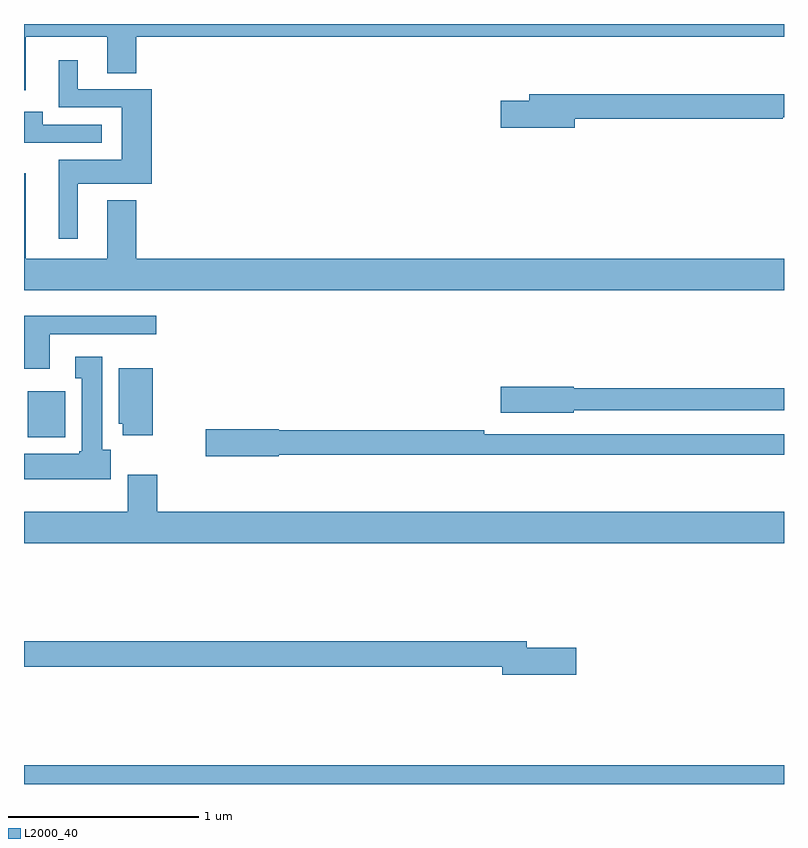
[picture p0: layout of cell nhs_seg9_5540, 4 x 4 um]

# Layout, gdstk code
import gdstk
lib = gdstk.Library(unit=1e-6, precision=1e-09)
def R(c, l, rs):  # rectangles x0, y0, x1, y1
    for r in rs: c.add(gdstk.rectangle(r[:2], r[2:], *l))
def P(c, l, *ps):  # polygons
    for p in ps: c.add(gdstk.Polygon(p, *l))
L2000_40 = (2000, 40)

nhs_seg9_5540 = lib.new_cell('nhs_seg9_5540')
R(nhs_seg9_5540, L2000_40, [(433,1180.5,437,1180.6), (433.019,1182.326,433.216,1182.568)])
P(nhs_seg9_5540, L2000_40, [(433.009,1184.432),(433.439,1184.432),(433.439,1184.242),(433.592,1184.242),(433.592,1184.432),(437,1184.432),(437,1184.5),(433,1184.5),(433,1184.151),(433.009,1184.151)],
  [(433.282,1183.658),(433.673,1183.658),(433.673,1184.157),(433.282,1184.157),(433.282,1184.308),(433.184,1184.308),(433.184,1184.061),(433.514,1184.061),(433.514,1183.786),(433.184,1183.786),(433.184,1183.371),(433.282,1183.371)],
  [(435.898,1184.002),(436.994,1184.002),(436.994,1184.01),(437,1184.01),(437,1184.131),(435.659,1184.131),(435.659,1184.097),(435.51,1184.097),(435.51,1183.955),(435.898,1183.955)],
  [(433.095,1183.875),(433.408,1183.875),(433.408,1183.971),(433.099,1183.971),(433.099,1184.038),(433,1184.038),(433,1183.874),(433.095,1183.874)],
  [(437,1183.264),(433.592,1183.264),(433.592,1183.573),(433.439,1183.573),(433.439,1183.264),(433.009,1183.264),(433.009,1183.714),(433,1183.714),(433,1183.1),(437,1183.1)],
  [(433.135,1182.867),(433.696,1182.867),(433.696,1182.964),(433,1182.964),(433,1182.686),(433.135,1182.686)],
  [(433.456,1182.258),(433.411,1182.258),(433.411,1182.748),(433.271,1182.748),(433.271,1182.635),(433.304,1182.635),(433.304,1182.252),(433.291,1182.252),(433.291,1182.238),(433,1182.238),(433,1182.104),(433.456,1182.104)],
  [(433.678,1182.688),(433.499,1182.688),(433.499,1182.396),(433.52,1182.396),(433.52,1182.336),(433.678,1182.336)],
  [(435.894,1182.468),(437,1182.468),(437,1182.584),(435.894,1182.584),(435.894,1182.59),(435.51,1182.59),(435.51,1182.455),(435.894,1182.455)],
  [(434.34,1182.234),(437,1182.234),(437,1182.342),(435.422,1182.342),(435.422,1182.362),(434.34,1182.362),(434.34,1182.368),(433.956,1182.368),(433.956,1182.226),(434.34,1182.226)],
  [(437,1181.932),(433.7,1181.932),(433.7,1182.127),(433.547,1182.127),(433.547,1181.932),(433,1181.932),(433,1181.768),(437,1181.768)],
  [(435.907,1181.216),(435.646,1181.216),(435.646,1181.252),(433,1181.252),(433,1181.116),(435.518,1181.116),(435.518,1181.074),(435.907,1181.074)])

lib.write_gds('nhs_seg9_5540.gds')
